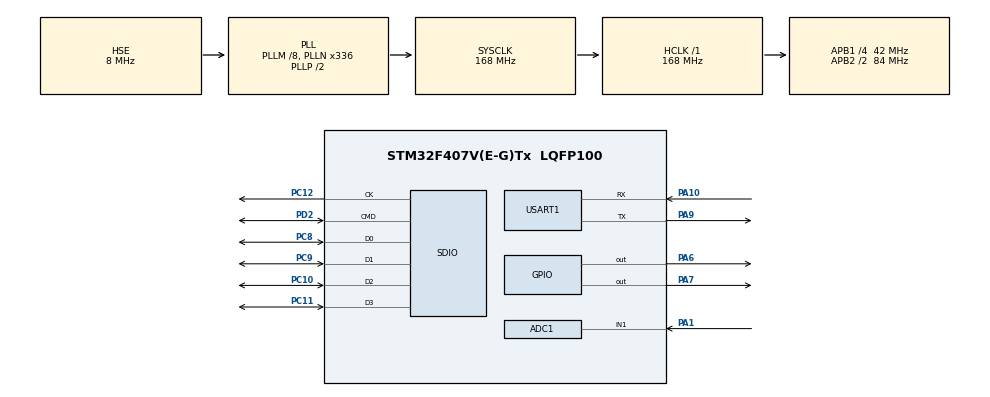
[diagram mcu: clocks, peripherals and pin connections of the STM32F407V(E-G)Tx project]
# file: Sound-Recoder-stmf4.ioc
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ADC1.Channel-0\#ChannelRegularConversion=ADC_CHANNEL_1
ADC1.ContinuousConvMode=ENABLE
ADC1.NbrOfConversionFlag=1
ADC1.Rank-0\#ChannelRegularConversion=1
ADC1.SamplingTime-0\#ChannelRegularConversion=ADC_SAMPLETIME_3CYCLES
ADC1.master=1
Dma.Request0=SDIO_RX
Dma.Request1=SDIO_TX
Dma.SDIO_RX.0.Direction=DMA_PERIPH_TO_MEMORY
Dma.SDIO_RX.0.FIFOMode=DMA_FIFOMODE_ENABLE
Dma.SDIO_RX.0.FIFOThreshold=DMA_FIFO_THRESHOLD_FULL
Dma.SDIO_RX.0.Instance=DMA2_Stream3
Dma.SDIO_RX.0.MemBurst=DMA_MBURST_INC4
Dma.SDIO_RX.0.MemDataAlignment=DMA_MDATAALIGN_WORD
Dma.SDIO_RX.0.MemInc=DMA_MINC_ENABLE
Dma.SDIO_RX.0.Mode=DMA_PFCTRL
Dma.SDIO_RX.0.PeriphBurst=DMA_PBURST_INC4
Dma.SDIO_RX.0.PeriphDataAlignment=DMA_PDATAALIGN_WORD
Dma.SDIO_RX.0.PeriphInc=DMA_PINC_DISABLE
Dma.SDIO_RX.0.Priority=DMA_PRIORITY_LOW
Dma.SDIO_TX.1.Direction=DMA_MEMORY_TO_PERIPH
Dma.SDIO_TX.1.FIFOMode=DMA_FIFOMODE_ENABLE
Dma.SDIO_TX.1.FIFOThreshold=DMA_FIFO_THRESHOLD_FULL
Dma.SDIO_TX.1.Instance=DMA2_Stream6
Dma.SDIO_TX.1.MemBurst=DMA_MBURST_INC4
Dma.SDIO_TX.1.MemDataAlignment=DMA_MDATAALIGN_WORD
Dma.SDIO_TX.1.MemInc=DMA_MINC_ENABLE
Dma.SDIO_TX.1.Mode=DMA_PFCTRL
Dma.SDIO_TX.1.PeriphBurst=DMA_PBURST_INC4
Dma.SDIO_TX.1.PeriphDataAlignment=DMA_PDATAALIGN_WORD
Dma.SDIO_TX.1.PeriphInc=DMA_PINC_DISABLE
Dma.SDIO_TX.1.Priority=DMA_PRIORITY_LOW
FATFS.USE_DMA_CODE_SD=1
FATFS._MAX_SS=4096
FREERTOS.BinarySemaphores01=record_semaphore,Dynamic,NULL
FREERTOS.Tasks01=defaultTask,24,128,StartDefaultTask,Default,NULL,Dynamic,NULL,NULL
FREERTOS.Timers01=audio_timer,audio_record_timer,osTimerPeriodic,Default,NULL,Dynamic,NULL
FREERTOS.configTIMER_TASK_PRIORITY=10
Mcu.Family=STM32F4
Mcu.Name=STM32F407V(E-G)Tx
Mcu.Package=LQFP100
NVIC.DMA2_Stream3_IRQn=true\:5\:0\:false\:false\:true\:true\:false\:true
NVIC.DMA2_Stream6_IRQn=true\:5\:0\:false\:false\:true\:true\:false\:true
NVIC.PriorityGroup=NVIC_PRIORITYGROUP_4
NVIC.SDIO_IRQn=true\:5\:0\:false\:false\:true\:true\:true\:true
PA1.Signal=ADCx_IN1
PA10.Mode=Asynchronous
PA10.Signal=USART1_RX
PA13.Mode=Serial_Wire
PA13.Signal=SYS_JTMS-SWDIO
PA14.Mode=Serial_Wire
PA14.Signal=SYS_JTCK-SWCLK
PA6.Signal=GPIO_Output
PA7.Signal=GPIO_Output
PA9.Mode=Asynchronous
PA9.Signal=USART1_TX
PC10.Mode=SD_4_bits_Wide_bus
PC10.Signal=SDIO_D2
PC11.Mode=SD_4_bits_Wide_bus
PC11.Signal=SDIO_D3
PC12.Mode=SD_4_bits_Wide_bus
PC12.Signal=SDIO_CK
PC8.Mode=SD_4_bits_Wide_bus
PC8.Signal=SDIO_D0
PC9.Mode=SD_4_bits_Wide_bus
PC9.Signal=SDIO_D1
PD2.Mode=SD_4_bits_Wide_bus
PD2.Signal=SDIO_CMD
PH0-OSC_IN.Mode=HSE-External-Oscillator
PH0-OSC_IN.Signal=RCC_OSC_IN
PH1-OSC_OUT.Mode=HSE-External-Oscillator
PH1-OSC_OUT.Signal=RCC_OSC_OUT
ProjectManager.HeapSize=0x200
ProjectManager.StackSize=0x400
ProjectManager.TargetToolchain=STM32CubeIDE
RCC.48MHZClocksFreq_Value=48000000
RCC.AHBFreq_Value=168000000
RCC.APB1CLKDivider=RCC_HCLK_DIV4
RCC.APB1Freq_Value=42000000
RCC.APB1TimFreq_Value=84000000
RCC.APB2CLKDivider=RCC_HCLK_DIV2
RCC.APB2Freq_Value=84000000
RCC.APB2TimFreq_Value=168000000
RCC.CortexFreq_Value=168000000
RCC.HCLKFreq_Value=168000000
RCC.HSE_VALUE=8000000
RCC.HSI_VALUE=16000000
RCC.LSE_VALUE=32768
RCC.PLLM=8
RCC.PLLN=336
RCC.PLLQ=7
RCC.PLLSourceVirtual=RCC_PLLSOURCE_HSE
RCC.SYSCLKFreq_VALUE=168000000
RCC.SYSCLKSource=RCC_SYSCLKSOURCE_PLLCLK
RCC.VCOOutputFreq_Value=336000000
SH.ADCx_IN1.0=ADC1_IN1,IN1
USART1.VirtualMode=VM_ASYNC
VP_FATFS_VS_SDIO.Mode=SDIO
VP_FREERTOS_VS_CMSIS_V2.Mode=CMSIS_V2
board=custom

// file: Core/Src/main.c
/* USER CODE BEGIN Header */
/**
  ******************************************************************************
  * @file           : main.c
  * @brief          : Main program body
  ******************************************************************************
  * @attention
  *
  * Copyright (c) 2022 STMicroelectronics.
  * All rights reserved.
  *
  * This software is licensed under terms that can be found in the LICENSE file
  * in the root directory of this software component.
  * If no LICENSE file comes with this software, it is provided AS-IS.
  *
  ******************************************************************************
  */
/* USER CODE END Header */
#include "main.h"
#include "cmsis_os.h"
#include "fatfs.h"

/* USER CODE BEGIN PM */
#define DEBUG_CN(message) (HAL_UART_Transmit(&huart1,(uint8_t*)message, sizeof(message),HAL_MAX_DELAY))

/* USER CODE END PM */

ADC_HandleTypeDef hadc1;

SD_HandleTypeDef hsd;
DMA_HandleTypeDef hdma_sdio_rx;
DMA_HandleTypeDef hdma_sdio_tx;

UART_HandleTypeDef huart1;

/* Definitions for defaultTask */
osThreadId_t defaultTaskHandle;
const osThreadAttr_t defaultTask_attributes = {
  .name = "defaultTask",
  .stack_size = 128 * 4,
  .priority = (osPriority_t) osPriorityNormal,
};
/* Definitions for audio_timer */
osTimerId_t audio_timerHandle;
const osTimerAttr_t audio_timer_attributes = {
  .name = "audio_timer"
};
/* Definitions for record_semaphore */
osSemaphoreId_t record_semaphoreHandle;
const osSemaphoreAttr_t record_semaphore_attributes = {
  .name = "record_semaphore"
};
/* USER CODE BEGIN PV */
extern char SDPath[4]; /* SD logical drive path */
extern FATFS SDFatFS; /* File system object for SD logical drive */
extern FIL SDFile; /* File object for SD */

FRESULT res;
uint32_t bytes_written,bytes_read;

/* USER CODE END PV */

void SystemClock_Config(void);
static void MX_GPIO_Init(void);
static void MX_DMA_Init(void);
static void MX_SDIO_SD_Init(void);
static void MX_USART1_UART_Init(void);
static void MX_ADC1_Init(void);
void StartDefaultTask(void *argument);
void audio_record_timer(void *argument);

int main(void)
{

  /* MCU Configuration--------------------------------------------------------*/

  /* Reset of all peripherals, Initializes the Flash interface and the Systick. */
  HAL_Init();

  /* Configure the system clock */
  SystemClock_Config();

  /* Initialize all configured peripherals */
  MX_GPIO_Init();
  MX_DMA_Init();
  MX_SDIO_SD_Init();
  MX_USART1_UART_Init();
  MX_FATFS_Init();
  MX_ADC1_Init();

  /* Init scheduler */
  osKernelInitialize();

  /* Create the semaphores(s) */
  /* creation of record_semaphore */
  record_semaphoreHandle = osSemaphoreNew(1, 1, &record_semaphore_attributes);

  /* USER CODE BEGIN RTOS_SEMAPHORES */
  /* add semaphores, ... */
  osSemaphoreRelease(record_semaphoreHandle);
  /* USER CODE END RTOS_SEMAPHORES */

  /* Create the timer(s) */
  /* creation of audio_timer */
  audio_timerHandle = osTimerNew(audio_record_timer, osTimerPeriodic, NULL, &audio_timer_attributes);

  /* Create the thread(s) */
  /* creation of defaultTask */
  defaultTaskHandle = osThreadNew(StartDefaultTask, NULL, &defaultTask_attributes);

  /* Start scheduler */
  osKernelStart();

  /* We should never get here as control is now taken by the scheduler */
  /* Infinite loop */
  while (1)
  {

  }
}

void SystemClock_Config(void)
{
  RCC_OscInitTypeDef RCC_OscInitStruct = {0};
  RCC_ClkInitTypeDef RCC_ClkInitStruct = {0};

  /** Configure the main internal regulator output voltage
  */
  __HAL_RCC_PWR_CLK_ENABLE();
  __HAL_PWR_VOLTAGESCALING_CONFIG(PWR_REGULATOR_VOLTAGE_SCALE1);
  /** Initializes the RCC Oscillators according to the specified parameters
  * in the RCC_OscInitTypeDef structure.
  */
  RCC_OscInitStruct.OscillatorType = RCC_OSCILLATORTYPE_HSE;
  RCC_OscInitStruct.HSEState = RCC_HSE_ON;
  RCC_OscInitStruct.PLL.PLLState = RCC_PLL_ON;
  RCC_OscInitStruct.PLL.PLLSource = RCC_PLLSOURCE_HSE;
  RCC_OscInitStruct.PLL.PLLM = 8;
  RCC_OscInitStruct.PLL.PLLN = 336;
  RCC_OscInitStruct.PLL.PLLP = RCC_PLLP_DIV2;
  RCC_OscInitStruct.PLL.PLLQ = 7;
  if (HAL_RCC_OscConfig(&RCC_OscInitStruct) != HAL_OK)
  {
    Error_Handler();
  }
  /** Initializes the CPU, AHB and APB buses clocks
  */
  RCC_ClkInitStruct.ClockType = RCC_CLOCKTYPE_HCLK|RCC_CLOCKTYPE_SYSCLK
                              |RCC_CLOCKTYPE_PCLK1|RCC_CLOCKTYPE_PCLK2;
  RCC_ClkInitStruct.SYSCLKSource = RCC_SYSCLKSOURCE_PLLCLK;
  RCC_ClkInitStruct.AHBCLKDivider = RCC_SYSCLK_DIV1;
  RCC_ClkInitStruct.APB1CLKDivider = RCC_HCLK_DIV4;
  RCC_ClkInitStruct.APB2CLKDivider = RCC_HCLK_DIV2;

  if (HAL_RCC_ClockConfig(&RCC_ClkInitStruct, FLASH_LATENCY_5) != HAL_OK)
  {
    Error_Handler();
  }
}

static void MX_ADC1_Init(void)
{

  ADC_ChannelConfTypeDef sConfig = {0};

  /** Configure the global features of the ADC (Clock, Resolution, Data Alignment and number of conversion)
  */
  hadc1.Instance = ADC1;
  hadc1.Init.ClockPrescaler = ADC_CLOCK_SYNC_PCLK_DIV4;
  hadc1.Init.Resolution = ADC_RESOLUTION_12B;
  hadc1.Init.ScanConvMode = DISABLE;
  hadc1.Init.ContinuousConvMode = ENABLE;
  hadc1.Init.DiscontinuousConvMode = DISABLE;
  hadc1.Init.ExternalTrigConvEdge = ADC_EXTERNALTRIGCONVEDGE_NONE;
  hadc1.Init.ExternalTrigConv = ADC_SOFTWARE_START;
  hadc1.Init.DataAlign = ADC_DATAALIGN_RIGHT;
  hadc1.Init.NbrOfConversion = 1;
  hadc1.Init.DMAContinuousRequests = DISABLE;
  hadc1.Init.EOCSelection = ADC_EOC_SINGLE_CONV;
  if (HAL_ADC_Init(&hadc1) != HAL_OK)
  {
    Error_Handler();
  }
  /** Configure for the selected ADC regular channel its corresponding rank in the sequencer and its sample time.
  */
  sConfig.Channel = ADC_CHANNEL_1;
  sConfig.Rank = 1;
  sConfig.SamplingTime = ADC_SAMPLETIME_3CYCLES;
  if (HAL_ADC_ConfigChannel(&hadc1, &sConfig) != HAL_OK)
  {
    Error_Handler();
  }

}

static void MX_SDIO_SD_Init(void)
{

  hsd.Instance = SDIO;
  hsd.Init.ClockEdge = SDIO_CLOCK_EDGE_RISING;
  hsd.Init.ClockBypass = SDIO_CLOCK_BYPASS_DISABLE;
  hsd.Init.ClockPowerSave = SDIO_CLOCK_POWER_SAVE_DISABLE;
  hsd.Init.BusWide = SDIO_BUS_WIDE_1B;
  hsd.Init.HardwareFlowControl = SDIO_HARDWARE_FLOW_CONTROL_DISABLE;
  hsd.Init.ClockDiv = 0;

}

static void MX_USART1_UART_Init(void)
{

  huart1.Instance = USART1;
  huart1.Init.BaudRate = 115200;
  huart1.Init.WordLength = UART_WORDLENGTH_8B;
  huart1.Init.StopBits = UART_STOPBITS_1;
  huart1.Init.Parity = UART_PARITY_NONE;
  huart1.Init.Mode = UART_MODE_TX_RX;
  huart1.Init.HwFlowCtl = UART_HWCONTROL_NONE;
  huart1.Init.OverSampling = UART_OVERSAMPLING_16;
  if (HAL_UART_Init(&huart1) != HAL_OK)
  {
    Error_Handler();
  }

}

static void MX_DMA_Init(void)
{

  /* DMA controller clock enable */
  __HAL_RCC_DMA2_CLK_ENABLE();

  /* DMA interrupt init */
  /* DMA2_Stream3_IRQn interrupt configuration */
  HAL_NVIC_SetPriority(DMA2_Stream3_IRQn, 5, 0);
  HAL_NVIC_EnableIRQ(DMA2_Stream3_IRQn);
  /* DMA2_Stream6_IRQn interrupt configuration */
  HAL_NVIC_SetPriority(DMA2_Stream6_IRQn, 5, 0);
  HAL_NVIC_EnableIRQ(DMA2_Stream6_IRQn);

}

static void MX_GPIO_Init(void)
{
  GPIO_InitTypeDef GPIO_InitStruct = {0};

  /* GPIO Ports Clock Enable */
  __HAL_RCC_GPIOH_CLK_ENABLE();
  __HAL_RCC_GPIOA_CLK_ENABLE();
  __HAL_RCC_GPIOC_CLK_ENABLE();
  __HAL_RCC_GPIOD_CLK_ENABLE();

  /*Configure GPIO pin Output Level */
  HAL_GPIO_WritePin(GPIOA, GPIO_PIN_6|GPIO_PIN_7, GPIO_PIN_RESET);

  /*Configure GPIO pins : PA6 PA7 */
  GPIO_InitStruct.Pin = GPIO_PIN_6|GPIO_PIN_7;
  GPIO_InitStruct.Mode = GPIO_MODE_OUTPUT_PP;
  GPIO_InitStruct.Pull = GPIO_NOPULL;
  GPIO_InitStruct.Speed = GPIO_SPEED_FREQ_LOW;
  HAL_GPIO_Init(GPIOA, &GPIO_InitStruct);

}

void StartDefaultTask(void *argument)
{
  /* USER CODE BEGIN 5 */

	  if(f_mount(&SDFatFS, " ", 0) != FR_OK){
	  	 DEBUG_CN("Error mounting SD \n");
	   }
	  else{
		  DEBUG_CN("SD mounted successfully\n");
		  res =  f_open(&SDFile, "wav.txt", FA_OPEN_ALWAYS | FA_WRITE | FA_READ);
		  if(res == FR_OK){
			  DEBUG_CN("File opened successfully \n");
		  }
		  else{
			  char error_msg[4];
			  itoa(res,error_msg,10);
			  DEBUG_CN("Error Opening File with Error : ");
			  DEBUG_CN(error_msg);
			  DEBUG_CN("\n");
			  HAL_Delay(500);
			  f_close(&SDFile);
		  }
	  }

	  f_mount(0, "", 0);

	  DEBUG_CN("Initialization Complete \n");

	char adc_value_str[5] = {};

	/* Start record timer */
	osTimerStart(audio_timerHandle, 50000000U);
  /* Infinite loop */
  for(;;)
  {

	  if(osSemaphoreAcquire(record_semaphoreHandle, osWaitForever) == osOK){
		  HAL_ADC_Start(&hadc1);
		  	 		  uint16_t adc_value = HAL_ADC_GetValue(&hadc1);
		  	 		  itoa(adc_value,adc_value_str,10);
		  	 		  DEBUG_CN(adc_value_str);
		  	 		  DEBUG_CN("\n");

	  }
	osDelay(20);
  }
  /* USER CODE END 5 */
}

/* audio_record_timer function */
void audio_record_timer(void *argument)
{
  /* USER CODE BEGIN audio_record_timer */
	/* Release the record timer to enable recording */
	osSemaphoreRelease(record_semaphoreHandle);
	HAL_GPIO_TogglePin(GPIOA, GPIO_PIN_7);

  /* USER CODE END audio_record_timer */
}

void Error_Handler(void)
{
  __disable_irq();
  while (1)
  {
  }
}
